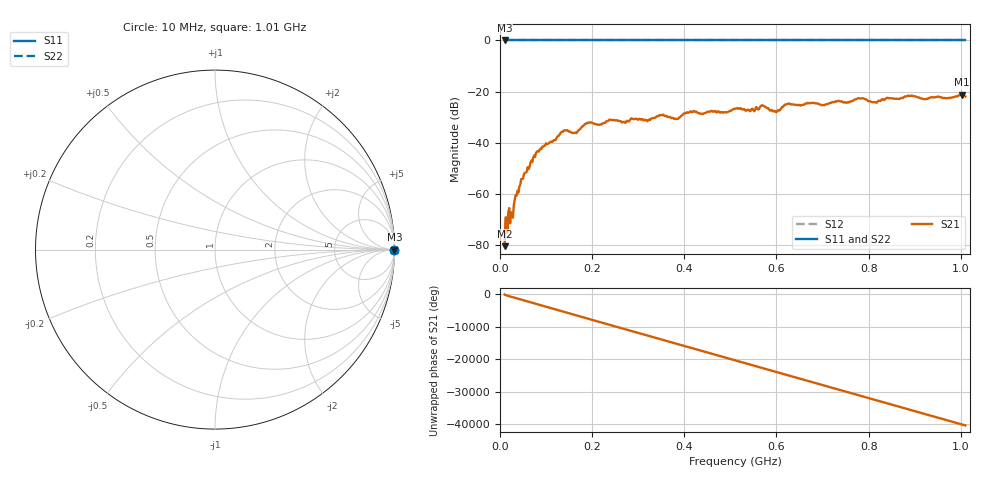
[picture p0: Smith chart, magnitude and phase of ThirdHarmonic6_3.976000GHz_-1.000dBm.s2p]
! 8/17/2025 2:09:08 PM
! C:\ANRITSUVNA\TEMP\TEMP.S2P
! CHANNEL.1
! TR.MEASUREMENT
! RAW.DATA
! RF.CORRECTION.OFF
! AVERAGING.OFF
! IF.BANDWIDTH: 5KHZ
! SWEEPTYPE:  FREQ.SWEEP(Linear)
! Reference Plane Port Info
! PORT:  PORT1  PORT2
! DISTANCE:  0  m  0  m
! TIME:  0  s  0  s
! PHASE.OFFSET:  0  deg.  0  deg.
! LOSS:  0  dB  0  dB
! REF.LOSS:  0  dB  0  dB
! REF.FREQ:  0  Hz  0  Hz
! Power Info
! POWER:  -20  dBm  -20  dBm
! EFF.POWER:  -20  dBm  -20  dBm
! SOURCE.ATTEN:  0  dB  0  dB
! TEST.ATTEN:  0  dB  0  dB
# GHZ S RI R 50.0
! FREQ.GHZ  S11RE  S11IM  S21RE  S21IM  S12RE  S12IM  S22RE  S22IM
!; PortSelection: Port_12
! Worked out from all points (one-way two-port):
!   501 points, 10 MHz to 1.01 GHz, reference 50 ohm
!   highest |S21| = -21.23 dB at 1.002 GHz (marker M1); lowest = -80.4 dB at 10 MHz (marker M2)
!   lowest |S11| = 0.0 dB at 10 MHz (marker M3)
!   |S11| at or under -10 dB: nowhere
!   |S22| runs from 0.0 to 0.0 dB; largest |S21 - S12| = 1.1
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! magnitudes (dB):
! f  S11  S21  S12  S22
! 10 MHz  0.0  -80.4  0.0  0.0
! 16 MHz  0.0  -75.2  0.0  0.0
! 26 MHz  0.0  -67.8  0.0  0.0
! 34 MHz  0.0  -60.4  0.0  0.0
! 48 MHz  0.0  -54.1  0.0  0.0
! 78 MHz  0.0  -44.0  0.0  0.0
! 136 MHz  0.0  -35.7  0.0  0.0
! 162 MHz  0.0  -36.1  0.0  0.0
! 178 MHz  0.0  -33.7  0.0  0.0
! 192 MHz  0.0  -32.1  0.0  0.0
! 322 MHz  0.0  -31.1  0.0  0.0
! 344 MHz  0.0  -29.6  0.0  0.0
! 382 MHz  0.0  -30.6  0.0  0.0
! 416 MHz  0.0  -28.1  0.0  0.0
! 510 MHz  0.0  -26.7  0.0  0.0
! 570 MHz  0.0  -25.4  0.0  0.0
! 596 MHz  0.0  -27.5  0.0  0.0
! 624 MHz  0.0  -24.9  0.0  0.0
! 678 MHz  0.0  -24.4  0.0  0.0
! 844 MHz  0.0  -22.6  0.0  0.0
! 1.002 GHz  0.0  -21.2  0.0  0.0
! 1.01 GHz  0.0  -21.9  0.0  0.0
